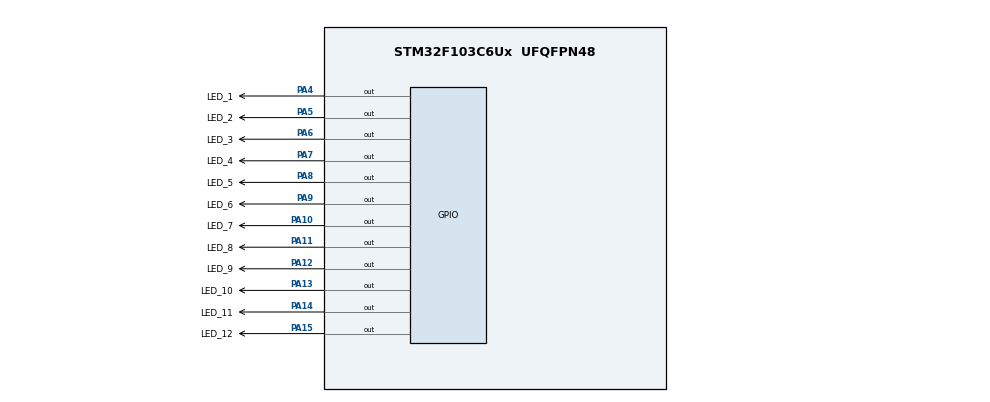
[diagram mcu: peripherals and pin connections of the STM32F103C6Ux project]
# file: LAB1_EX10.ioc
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Mcu.Family=STM32F1
Mcu.Name=STM32F103C6Ux
Mcu.Package=UFQFPN48
NVIC.PriorityGroup=NVIC_PRIORITYGROUP_4
PA10.GPIO_Label=LED_7
PA10.Signal=GPIO_Output
PA11.GPIO_Label=LED_8
PA11.Signal=GPIO_Output
PA12.GPIO_Label=LED_9
PA12.Signal=GPIO_Output
PA13.GPIO_Label=LED_10
PA13.Signal=GPIO_Output
PA14.GPIO_Label=LED_11
PA14.Signal=GPIO_Output
PA15.GPIO_Label=LED_12
PA15.Signal=GPIO_Output
PA4.GPIO_Label=LED_1
PA4.Signal=GPIO_Output
PA5.GPIO_Label=LED_2
PA5.Signal=GPIO_Output
PA6.GPIO_Label=LED_3
PA6.Signal=GPIO_Output
PA7.GPIO_Label=LED_4
PA7.Signal=GPIO_Output
PA8.GPIO_Label=LED_5
PA8.Signal=GPIO_Output
PA9.GPIO_Label=LED_6
PA9.Signal=GPIO_Output
ProjectManager.HeapSize=0x200
ProjectManager.StackSize=0x400
ProjectManager.TargetToolchain=STM32CubeIDE
RCC.APB1Freq_Value=8000000
RCC.APB2Freq_Value=8000000
VP_SYS_VS_ND.Mode=No_Debug
board=custom

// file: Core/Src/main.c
/* USER CODE BEGIN Header */
/**
  ******************************************************************************
  * @file           : main.c
  * @brief          : Main program body
  ******************************************************************************
  * @attention
  *
  * <h2><center>&copy; Copyright (c) 2025 STMicroelectronics.
  * All rights reserved.</center></h2>
  *
  * This software component is licensed by ST under BSD 3-Clause license,
  * the "License"; You may not use this file except in compliance with the
  * License. You may obtain a copy of the License at:
  *                        opensource.org/licenses/BSD-3-Clause
  *
  ******************************************************************************
  */
/* USER CODE END Header */
#include "main.h"

void SystemClock_Config(void);
static void MX_GPIO_Init(void);

int main(void)
{

  /* MCU Configuration--------------------------------------------------------*/

  /* Reset of all peripherals, Initializes the Flash interface and the Systick. */
  HAL_Init();

  /* Configure the system clock */
  SystemClock_Config();

  /* Initialize all configured peripherals */
  MX_GPIO_Init();

  /* Infinite loop */
  /* USER CODE BEGIN WHILE */

#define NUM_LEDS 12
  GPIO_TypeDef* LED_Port[NUM_LEDS] = {
      LED_1_GPIO_Port, LED_2_GPIO_Port, LED_3_GPIO_Port, LED_4_GPIO_Port,
      LED_5_GPIO_Port, LED_6_GPIO_Port, LED_7_GPIO_Port, LED_8_GPIO_Port,
      LED_9_GPIO_Port, LED_10_GPIO_Port, LED_11_GPIO_Port, LED_12_GPIO_Port
  };

  uint16_t LED_Pin[NUM_LEDS] = {
      LED_1_Pin, LED_2_Pin, LED_3_Pin, LED_4_Pin,
      LED_5_Pin, LED_6_Pin, LED_7_Pin, LED_8_Pin,
      LED_9_Pin, LED_10_Pin, LED_11_Pin, LED_12_Pin
  };

  /*void clearAllClock(){
  	  for (int i = 0; i < NUM_LEDS; i ++){
  		  HAL_GPIO_WritePin(LED_Port[i], LED_Pin[i], RESET);
  	  }
    }*/

  void  setNumberOnClock(int num){
  	  HAL_GPIO_WritePin(LED_Port[num], LED_Pin[num], SET);
    }
  void clearNumberOnClock(int num){
	  HAL_GPIO_WritePin(LED_Port[num], LED_Pin[num], RESET);
  }
  /*void testLed(){
	  for (int i = 0; i < NUM_LEDS; i++)
	  	          {
	  	              HAL_GPIO_WritePin(LED_Port[i], LED_Pin[i], SET);
	  	              HAL_Delay(1000);

	  	              HAL_GPIO_WritePin(LED_Port[i], LED_Pin[i], RESET);
	  	          }
  }*/
  int hour = 5;
  int minute = 55;
  int second = 0;

  int prev_hour = -1, prev_minute = -1, prev_second = -1;

  while (1)
  {
	  //testLed();

	  int hour_pos = hour % 12;
	  int minute_pos = minute / 5;
	  int second_pos = second / 5;

	  if (prev_hour != -1 && prev_hour != hour_pos)
	          clearNumberOnClock(prev_hour);
	  if (prev_minute != -1 && prev_minute != minute_pos)
	          clearNumberOnClock(prev_minute);
	  if (prev_second != -1 && prev_second != second_pos)
	          clearNumberOnClock(prev_second);

	  setNumberOnClock(hour_pos);
	  setNumberOnClock(minute_pos);
	  setNumberOnClock(second_pos);

	  prev_hour   = hour_pos;
	  prev_minute = minute_pos;
	  prev_second = second_pos;

	  HAL_Delay(1000);
	  second++;
	  if (second >= 60) { second = 0; minute++; }
	  if (minute >= 60) { minute = 0; hour++; }
	  if (hour >= 12)   { hour = 0; }

    /* USER CODE END WHILE */

  }
}

void SystemClock_Config(void)
{
  RCC_OscInitTypeDef RCC_OscInitStruct = {0};
  RCC_ClkInitTypeDef RCC_ClkInitStruct = {0};

  /** Initializes the RCC Oscillators according to the specified parameters
  * in the RCC_OscInitTypeDef structure.
  */
  RCC_OscInitStruct.OscillatorType = RCC_OSCILLATORTYPE_HSI;
  RCC_OscInitStruct.HSIState = RCC_HSI_ON;
  RCC_OscInitStruct.HSICalibrationValue = RCC_HSICALIBRATION_DEFAULT;
  RCC_OscInitStruct.PLL.PLLState = RCC_PLL_NONE;
  if (HAL_RCC_OscConfig(&RCC_OscInitStruct) != HAL_OK)
  {
    Error_Handler();
  }
  /** Initializes the CPU, AHB and APB buses clocks
  */
  RCC_ClkInitStruct.ClockType = RCC_CLOCKTYPE_HCLK|RCC_CLOCKTYPE_SYSCLK
                              |RCC_CLOCKTYPE_PCLK1|RCC_CLOCKTYPE_PCLK2;
  RCC_ClkInitStruct.SYSCLKSource = RCC_SYSCLKSOURCE_HSI;
  RCC_ClkInitStruct.AHBCLKDivider = RCC_SYSCLK_DIV1;
  RCC_ClkInitStruct.APB1CLKDivider = RCC_HCLK_DIV1;
  RCC_ClkInitStruct.APB2CLKDivider = RCC_HCLK_DIV1;

  if (HAL_RCC_ClockConfig(&RCC_ClkInitStruct, FLASH_LATENCY_0) != HAL_OK)
  {
    Error_Handler();
  }
}

static void MX_GPIO_Init(void)
{
  GPIO_InitTypeDef GPIO_InitStruct = {0};

  /* GPIO Ports Clock Enable */
  __HAL_RCC_GPIOA_CLK_ENABLE();

  /*Configure GPIO pin Output Level */
  HAL_GPIO_WritePin(GPIOA, LED_1_Pin|LED_2_Pin|LED_3_Pin|LED_4_Pin
                          |LED_5_Pin|LED_6_Pin|LED_7_Pin|LED_8_Pin
                          |LED_9_Pin|LED_10_Pin|LED_11_Pin|LED_12_Pin, GPIO_PIN_RESET);

  /*Configure GPIO pins : LED_1_Pin LED_2_Pin LED_3_Pin LED_4_Pin
                           LED_5_Pin LED_6_Pin LED_7_Pin LED_8_Pin
                           LED_9_Pin LED_10_Pin LED_11_Pin LED_12_Pin */
  GPIO_InitStruct.Pin = LED_1_Pin|LED_2_Pin|LED_3_Pin|LED_4_Pin
                          |LED_5_Pin|LED_6_Pin|LED_7_Pin|LED_8_Pin
                          |LED_9_Pin|LED_10_Pin|LED_11_Pin|LED_12_Pin;
  GPIO_InitStruct.Mode = GPIO_MODE_OUTPUT_PP;
  GPIO_InitStruct.Pull = GPIO_NOPULL;
  GPIO_InitStruct.Speed = GPIO_SPEED_FREQ_LOW;
  HAL_GPIO_Init(GPIOA, &GPIO_InitStruct);

}

void Error_Handler(void)
{
  __disable_irq();
  while (1)
  {
  }
}

/************************ (C) COPYRIGHT STMicroelectronics *****END OF FILE****/
